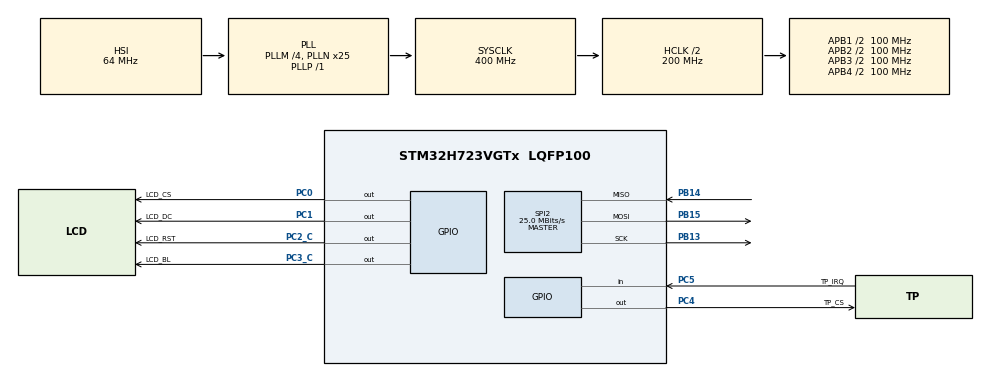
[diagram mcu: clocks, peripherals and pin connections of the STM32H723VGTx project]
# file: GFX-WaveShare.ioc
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CORTEX_M7.default_mode_Activation=1
Mcu.Family=STM32H7
Mcu.Name=STM32H723VGTx
Mcu.Package=LQFP100
NVIC.PriorityGroup=NVIC_PRIORITYGROUP_4
PB13.Mode=Full_Duplex_Master
PB13.Signal=SPI2_SCK
PB14.Mode=Full_Duplex_Master
PB14.Signal=SPI2_MISO
PB15.Mode=Full_Duplex_Master
PB15.Signal=SPI2_MOSI
PC0.GPIO_Label=LCD_CS
PC0.PinState=GPIO_PIN_SET
PC0.Signal=GPIO_Output
PC1.GPIO_Label=LCD_DC
PC1.PinState=GPIO_PIN_SET
PC1.Signal=GPIO_Output
PC2_C.GPIO_Label=LCD_RST
PC2_C.PinState=GPIO_PIN_SET
PC2_C.Signal=GPIO_Output
PC3_C.GPIO_Label=LCD_BL
PC3_C.PinState=GPIO_PIN_SET
PC3_C.Signal=GPIO_Output
PC4.GPIO_Label=TP_CS
PC4.PinState=GPIO_PIN_SET
PC4.Signal=GPIO_Output
PC5.GPIO_Label=TP_IRQ
PC5.Signal=GPIO_Input
PH0-OSC_IN.Mode=HSE-External-Oscillator
PH0-OSC_IN.Signal=RCC_OSC_IN
PH1-OSC_OUT.Mode=HSE-External-Oscillator
PH1-OSC_OUT.Signal=RCC_OSC_OUT
ProjectManager.HeapSize=0x200
ProjectManager.StackSize=0x400
ProjectManager.TargetToolchain=STM32CubeIDE
RCC.ADCFreq_Value=129000000
RCC.APB1Freq_Value=100000000
RCC.APB2Freq_Value=100000000
RCC.APB3Freq_Value=100000000
RCC.APB4Freq_Value=100000000
RCC.CortexFreq_Value=400000000
RCC.D1PPRE=RCC_APB3_DIV2
RCC.D2PPRE1=RCC_APB1_DIV2
RCC.D2PPRE2=RCC_APB2_DIV2
RCC.D3PPRE=RCC_APB4_DIV2
RCC.DIVM1=4
RCC.DIVN1=25
RCC.DIVP1=1
RCC.HCLKFreq_Value=200000000
RCC.HPRE=RCC_HCLK_DIV2
RCC.PLLFRACN=0
RCC.SYSCLKFreq_VALUE=400000000
RCC.SYSCLKSource=RCC_SYSCLKSOURCE_PLLCLK
RCC.USBFreq_Value=200000000
SPI2.BaudRatePrescaler=SPI_BAUDRATEPRESCALER_8
SPI2.CalculateBaudRate=25.0 MBits/s
SPI2.DataSize=SPI_DATASIZE_8BIT
SPI2.Direction=SPI_DIRECTION_2LINES
SPI2.Mode=SPI_MODE_MASTER
SPI2.VirtualType=VM_MASTER
STMicroelectronics.X-CUBE-TOUCHGFX.4.26.1.ApplicationCcGraphicsJjApplication=TouchGFXOoGenerator
STMicroelectronics.X-CUBE-TOUCHGFX.4.26.1.tgfx_buffering_strategy=Partial
STMicroelectronics.X-CUBE-TOUCHGFX.4.26.1.tgfx_custom_height=320
STMicroelectronics.X-CUBE-TOUCHGFX.4.26.1.tgfx_custom_width=480
STMicroelectronics.X-CUBE-TOUCHGFX.4.26.1_IsPackSelfContextualization=true
VP_CRC_VS_CRC.Mode=CRC_Activate
VP_MEMORYMAP_VS_MEMORYMAP.Mode=CurAppReg
VP_STMicroelectronics.X-CUBE-TOUCHGFX_VS_GraphicsJjApplication_4.26.1.Mode=GraphicsJjApplication
board=custom

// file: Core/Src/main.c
/* USER CODE BEGIN Header */
/**
  ******************************************************************************
  * @file           : main.c
  * @brief          : Main program body
  ******************************************************************************
  * @attention
  *
  * Copyright (c) 2026 STMicroelectronics.
  * All rights reserved.
  *
  * This software is licensed under terms that can be found in the LICENSE file
  * in the root directory of this software component.
  * If no LICENSE file comes with this software, it is provided AS-IS.
  *
  ******************************************************************************
  */
/* USER CODE END Header */
#include "main.h"
#include "app_touchgfx.h"

CRC_HandleTypeDef hcrc;

SPI_HandleTypeDef hspi2;

/* USER CODE BEGIN PV */
// Больше НЕ пишем свою реализацию протокола ILI9486 — используем ДОСЛОВНУЮ
// копию официального Waveshare LCD_Driver.c/.h (Core/Src/LCD_Driver.c,
// Core/Inc/LCD_Driver.h, скопированы из STM32-примера в
// 3.5inch_TFT_Touch_Shield_Code_V2), адаптирован только низкоуровневый слой
// DEV_Config.c под нашу плату (SPI2/пины). См. журнал GFX-WaveShare-Workflow.md,
// п. 6.18.
#include "LCD_Driver.h"

// Тонкие обёртки для TouchGFXHAL.cpp — сам LCD_Driver.h не экспортирует
// сырую пиксельную пересылку буфера (только LCD_SetColor с одним цветом на
// N повторов) и не даёт управлять CS снаружи, а для потокового вывода блоков
// TouchGFX это нужно. Названа LCD_WritePixels (не LCD_WriteData), чтобы не
// конфликтовать с официальной LCD_WriteData(uint8_t) из LCD_Driver.c.
void LCD_Begin(void) { LCD_CS_0; }
void LCD_End(void)   { LCD_CS_1; }

void ILI9486_SetAddrWindow(uint16_t x0, uint16_t y0, uint16_t x1, uint16_t y1) {
    LCD_SetWindow(x0, y0, x1 + 1, y1 + 1); // официальный SetWindow сам вычитает 1 из конца
}

void LCD_WritePixels(uint8_t *data, uint16_t len) {
    LCD_DC_1;
    HAL_SPI_Transmit(&hspi2, data, len, HAL_MAX_DELAY);
}

/* USER CODE END PV */

void SystemClock_Config(void);
static void MPU_Config(void);
static void MX_GPIO_Init(void);
static void MX_CRC_Init(void);
static void MX_SPI2_Init(void);

int main(void)
{

  /* MPU Configuration--------------------------------------------------------*/
  MPU_Config();

  /* MCU Configuration--------------------------------------------------------*/

  /* Reset of all peripherals, Initializes the Flash interface and the Systick. */
  HAL_Init();

  /* Configure the system clock */
  SystemClock_Config();

  /* Initialize all configured peripherals */
  MX_GPIO_Init();
  MX_CRC_Init();
  MX_SPI2_Init();
  MX_TouchGFX_Init();
  /* USER CODE BEGIN 2 */
  LCD_Init(SCAN_DIR_DFT, 1000); // официальный LCD_Init — делает сброс+InitReg+ScanWay+SleepOut+DisplayON сама

  // ДИАГНОСТИКА: бесконечная прямая заливка экрана, в обход TouchGFX,
  // чтобы спокойно, без спешки, ловить SPI осциллографом (CS/SCLK/MOSI)
  {
      static uint8_t fillBuf[480 * 2];
      int colorToggle = 0;
      while (1)
      {
          ILI9486_SetAddrWindow(0, 0, 479, 319); // тонкая обёртка над официальным LCD_SetWindow
          LCD_Begin(); // а вот сам поток пикселей — одна непрерывная транзакция
          for (int i = 0; i < 480; i++) {
              if (colorToggle) {
                  fillBuf[i * 2]     = 0xF8; // красный
                  fillBuf[i * 2 + 1] = 0x00;
              } else {
                  fillBuf[i * 2]     = 0x00; // синий
                  fillBuf[i * 2 + 1] = 0x1F;
              }
          }
          for (int row = 0; row < 320; row++) {
              LCD_WritePixels(fillBuf, sizeof(fillBuf));
          }
          LCD_End();
          colorToggle = !colorToggle;
          HAL_Delay(2000);

          // ДИАГНОСТИКА (визуальная, глазами, без осциллографа): команды, эффект
          // которых обязан быть заметен на экране, если контроллер реально управляет
          // пикселями. Если НИ ОДНА из них ничего не меняет (экран всё так же ровно
          // бело) — подозрение падает на внутренние напряжения смещения панели
          // (VGH/VGL/GVDD), а не на протокол/картинку (см. журнал, кандидат #1).
          LCD_WriteReg(0x28); HAL_Delay(2000); // Display OFF — экран должен потухнуть/помутнеть
          LCD_WriteReg(0x29); HAL_Delay(2000); // Display ON — должен вернуться прежний вид

          LCD_WriteReg(0x21); HAL_Delay(2000); // Inversion ON — цвета должны инвертироваться
          LCD_WriteReg(0x20); HAL_Delay(2000); // Inversion OFF — должно вернуться обратно

          // ДИАГНОСТИКА (визуальная): реально ли PC3 управляет подсветкой, или она
          // на модуле запитана напрямую и всегда горит независимо от нашего GPIO
          // (кандидат #2 из журнала — ещё не проверен).
          HAL_GPIO_WritePin(LCD_BL_GPIO_Port, LCD_BL_Pin, GPIO_PIN_RESET); // должна погаснуть
          HAL_Delay(1000);
          HAL_GPIO_WritePin(LCD_BL_GPIO_Port, LCD_BL_Pin, GPIO_PIN_SET);   // должна загореться обратно
          HAL_Delay(1000);
      }
  }

  /* USER CODE END 2 */

  /* Infinite loop */
  while (1)
  {

  MX_TouchGFX_Process();
  }
}

void SystemClock_Config(void)
{
  RCC_OscInitTypeDef RCC_OscInitStruct = {0};
  RCC_ClkInitTypeDef RCC_ClkInitStruct = {0};

  /** Supply configuration update enable
  */
  HAL_PWREx_ConfigSupply(PWR_LDO_SUPPLY);

  /** Configure the main internal regulator output voltage
  */
  __HAL_PWR_VOLTAGESCALING_CONFIG(PWR_REGULATOR_VOLTAGE_SCALE1);

  while(!__HAL_PWR_GET_FLAG(PWR_FLAG_VOSRDY)) {}

  /** Initializes the RCC Oscillators according to the specified parameters
  * in the RCC_OscInitTypeDef structure.
  */
  RCC_OscInitStruct.OscillatorType = RCC_OSCILLATORTYPE_HSI;
  RCC_OscInitStruct.HSIState = RCC_HSI_DIV1;
  RCC_OscInitStruct.HSICalibrationValue = 64;
  RCC_OscInitStruct.PLL.PLLState = RCC_PLL_ON;
  RCC_OscInitStruct.PLL.PLLSource = RCC_PLLSOURCE_HSI;
  RCC_OscInitStruct.PLL.PLLM = 4;
  RCC_OscInitStruct.PLL.PLLN = 25;
  RCC_OscInitStruct.PLL.PLLP = 1;
  RCC_OscInitStruct.PLL.PLLQ = 2;
  RCC_OscInitStruct.PLL.PLLR = 2;
  RCC_OscInitStruct.PLL.PLLRGE = RCC_PLL1VCIRANGE_3;
  RCC_OscInitStruct.PLL.PLLVCOSEL = RCC_PLL1VCOWIDE;
  RCC_OscInitStruct.PLL.PLLFRACN = 0;
  if (HAL_RCC_OscConfig(&RCC_OscInitStruct) != HAL_OK)
  {
    Error_Handler();
  }

  /** Initializes the CPU, AHB and APB buses clocks
  */
  RCC_ClkInitStruct.ClockType = RCC_CLOCKTYPE_HCLK|RCC_CLOCKTYPE_SYSCLK
                              |RCC_CLOCKTYPE_PCLK1|RCC_CLOCKTYPE_PCLK2
                              |RCC_CLOCKTYPE_D3PCLK1|RCC_CLOCKTYPE_D1PCLK1;
  RCC_ClkInitStruct.SYSCLKSource = RCC_SYSCLKSOURCE_PLLCLK;
  RCC_ClkInitStruct.SYSCLKDivider = RCC_SYSCLK_DIV1;
  RCC_ClkInitStruct.AHBCLKDivider = RCC_HCLK_DIV2;
  RCC_ClkInitStruct.APB3CLKDivider = RCC_APB3_DIV2;
  RCC_ClkInitStruct.APB1CLKDivider = RCC_APB1_DIV2;
  RCC_ClkInitStruct.APB2CLKDivider = RCC_APB2_DIV2;
  RCC_ClkInitStruct.APB4CLKDivider = RCC_APB4_DIV2;

  if (HAL_RCC_ClockConfig(&RCC_ClkInitStruct, FLASH_LATENCY_2) != HAL_OK)
  {
    Error_Handler();
  }
}

static void MX_CRC_Init(void)
{

  hcrc.Instance = CRC;
  hcrc.Init.DefaultPolynomialUse = DEFAULT_POLYNOMIAL_ENABLE;
  hcrc.Init.DefaultInitValueUse = DEFAULT_INIT_VALUE_ENABLE;
  hcrc.Init.InputDataInversionMode = CRC_INPUTDATA_INVERSION_NONE;
  hcrc.Init.OutputDataInversionMode = CRC_OUTPUTDATA_INVERSION_DISABLE;
  hcrc.InputDataFormat = CRC_INPUTDATA_FORMAT_BYTES;
  if (HAL_CRC_Init(&hcrc) != HAL_OK)
  {
    Error_Handler();
  }

}

static void MX_SPI2_Init(void)
{

  /* SPI2 parameter configuration*/
  hspi2.Instance = SPI2;
  hspi2.Init.Mode = SPI_MODE_MASTER;
  hspi2.Init.Direction = SPI_DIRECTION_2LINES;
  hspi2.Init.DataSize = SPI_DATASIZE_8BIT;
  hspi2.Init.CLKPolarity = SPI_POLARITY_LOW;
  hspi2.Init.CLKPhase = SPI_PHASE_1EDGE;
  hspi2.Init.NSS = SPI_NSS_SOFT;
  hspi2.Init.BaudRatePrescaler = SPI_BAUDRATEPRESCALER_64;
  hspi2.Init.FirstBit = SPI_FIRSTBIT_MSB;
  hspi2.Init.TIMode = SPI_TIMODE_DISABLE;
  hspi2.Init.CRCCalculation = SPI_CRCCALCULATION_DISABLE;
  hspi2.Init.CRCPolynomial = 0x0;
  hspi2.Init.NSSPMode = SPI_NSS_PULSE_ENABLE;
  hspi2.Init.NSSPolarity = SPI_NSS_POLARITY_LOW;
  hspi2.Init.FifoThreshold = SPI_FIFO_THRESHOLD_01DATA;
  hspi2.Init.TxCRCInitializationPattern = SPI_CRC_INITIALIZATION_ALL_ZERO_PATTERN;
  hspi2.Init.RxCRCInitializationPattern = SPI_CRC_INITIALIZATION_ALL_ZERO_PATTERN;
  hspi2.Init.MasterSSIdleness = SPI_MASTER_SS_IDLENESS_00CYCLE;
  hspi2.Init.MasterInterDataIdleness = SPI_MASTER_INTERDATA_IDLENESS_00CYCLE;
  hspi2.Init.MasterReceiverAutoSusp = SPI_MASTER_RX_AUTOSUSP_DISABLE;
  hspi2.Init.MasterKeepIOState = SPI_MASTER_KEEP_IO_STATE_DISABLE;
  hspi2.Init.IOSwap = SPI_IO_SWAP_DISABLE;
  if (HAL_SPI_Init(&hspi2) != HAL_OK)
  {
    Error_Handler();
  }

}

static void MX_GPIO_Init(void)
{
  GPIO_InitTypeDef GPIO_InitStruct = {0};

  /* GPIO Ports Clock Enable */
  __HAL_RCC_GPIOH_CLK_ENABLE();
  __HAL_RCC_GPIOC_CLK_ENABLE();
  __HAL_RCC_GPIOB_CLK_ENABLE();

  /*Configure GPIO pin Output Level */
  HAL_GPIO_WritePin(GPIOC, LCD_CS_Pin|LCD_DC_Pin|LCD_RST_Pin|LCD_BL_Pin
                          |TP_CS_Pin, GPIO_PIN_SET);

  /*Configure GPIO pins : LCD_CS_Pin LCD_DC_Pin LCD_RST_Pin LCD_BL_Pin
                           TP_CS_Pin */
  GPIO_InitStruct.Pin = LCD_CS_Pin|LCD_DC_Pin|LCD_RST_Pin|LCD_BL_Pin
                          |TP_CS_Pin;
  GPIO_InitStruct.Mode = GPIO_MODE_OUTPUT_PP;
  GPIO_InitStruct.Pull = GPIO_NOPULL;
  GPIO_InitStruct.Speed = GPIO_SPEED_FREQ_LOW;
  HAL_GPIO_Init(GPIOC, &GPIO_InitStruct);

  /*Configure GPIO pin : TP_IRQ_Pin */
  GPIO_InitStruct.Pin = TP_IRQ_Pin;
  GPIO_InitStruct.Mode = GPIO_MODE_INPUT;
  GPIO_InitStruct.Pull = GPIO_NOPULL;
  HAL_GPIO_Init(TP_IRQ_GPIO_Port, &GPIO_InitStruct);

  /*AnalogSwitch Config */
  HAL_SYSCFG_AnalogSwitchConfig(SYSCFG_SWITCH_PC2, SYSCFG_SWITCH_PC2_CLOSE);

  /*AnalogSwitch Config */
  HAL_SYSCFG_AnalogSwitchConfig(SYSCFG_SWITCH_PC3, SYSCFG_SWITCH_PC3_CLOSE);

}

 /* MPU Configuration */

void MPU_Config(void)
{
  MPU_Region_InitTypeDef MPU_InitStruct = {0};

  /* Disables the MPU */
  HAL_MPU_Disable();

  /** Initializes and configures the Region and the memory to be protected
  */
  MPU_InitStruct.Enable = MPU_REGION_ENABLE;
  MPU_InitStruct.Number = MPU_REGION_NUMBER0;
  MPU_InitStruct.BaseAddress = 0x0;
  MPU_InitStruct.Size = MPU_REGION_SIZE_4GB;
  MPU_InitStruct.SubRegionDisable = 0x87;
  MPU_InitStruct.TypeExtField = MPU_TEX_LEVEL0;
  MPU_InitStruct.AccessPermission = MPU_REGION_NO_ACCESS;
  MPU_InitStruct.DisableExec = MPU_INSTRUCTION_ACCESS_DISABLE;
  MPU_InitStruct.IsShareable = MPU_ACCESS_SHAREABLE;
  MPU_InitStruct.IsCacheable = MPU_ACCESS_NOT_CACHEABLE;
  MPU_InitStruct.IsBufferable = MPU_ACCESS_NOT_BUFFERABLE;

  HAL_MPU_ConfigRegion(&MPU_InitStruct);
  /* Enables the MPU */
  HAL_MPU_Enable(MPU_PRIVILEGED_DEFAULT);

}

void Error_Handler(void)
{
  __disable_irq();
  while (1)
  {
  }
}
